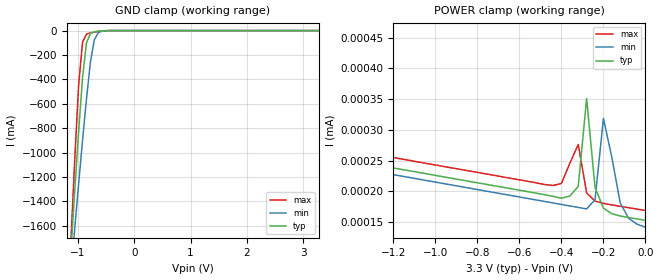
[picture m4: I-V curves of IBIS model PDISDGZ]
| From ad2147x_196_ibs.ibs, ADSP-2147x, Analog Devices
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|   Model PDISDGZ
[Model]  PDISDGZ
Model_type Input
Polarity   Non-Inverting
Vinl =   0.8000V
Vinh =   2.0000V
C_comp   3.4373pF   3.3181pF   3.5589pF
[Temperature Range]   25.0000   0.1250k   -40.0000
[Voltage Range]   3.3000V   3.0000V   3.6000V
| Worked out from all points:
|   GND clamp passes 1 mA (typ) near -0.51 V on its own axis
|   POWER clamp passes 1 mA (typ) near -3.14 V on its own axis
[GND_clamp]
|Voltage   I(typ)   I(min)   I(max)
-3.3V     -18.8A     -14.27A    -25.23A
-1.13V    -1.833A    -2.005A    -1.758A
-1.06V    -1.323A    -1.629A    -1.073A
-990mV    -833.7mA   -1.26A     -452mA
-920mV    -386mA     -901.5mA   -95.42mA
-850mV    -101.1mA   -561.6mA   -28.81mA
-780mV    -22.81mA   -257.9mA   -19.02mA
-710mV    -10.46mA   -75.05mA   -12.39mA
-640mV    -5.794mA   -16.97mA   -6.919mA
-570mV    -2.664mA   -4.555mA   -2.86mA
3.28V     152nA      171.6nA    151.2nA
[POWER_clamp]
|Voltage   I(typ)   I(min)   I(max)
-3.28V    87.8mA     368.1nA    3.529A
-2.92V    543nA      336.3nA    824.9mA
-2.76V    337.3nA    325.4nA    42.7mA
-2.52V    320.8nA    309.5nA    841.7nA
-2.4V     312.9nA    301.7nA    331.7nA
-400mV    189.1nA    178.9nA    213nA
-320mV    208.3nA    174.1nA    276.3nA
-280mV    350.9nA    171.6nA    197.7nA
-240mV    206.5nA    186.7nA    184.4nA
-200mV    172.9nA    318.8nA    180.6nA
-120mV    160.2nA    181.4nA    175.9nA
0V        153.1nA    141.9nA    169.1nA
